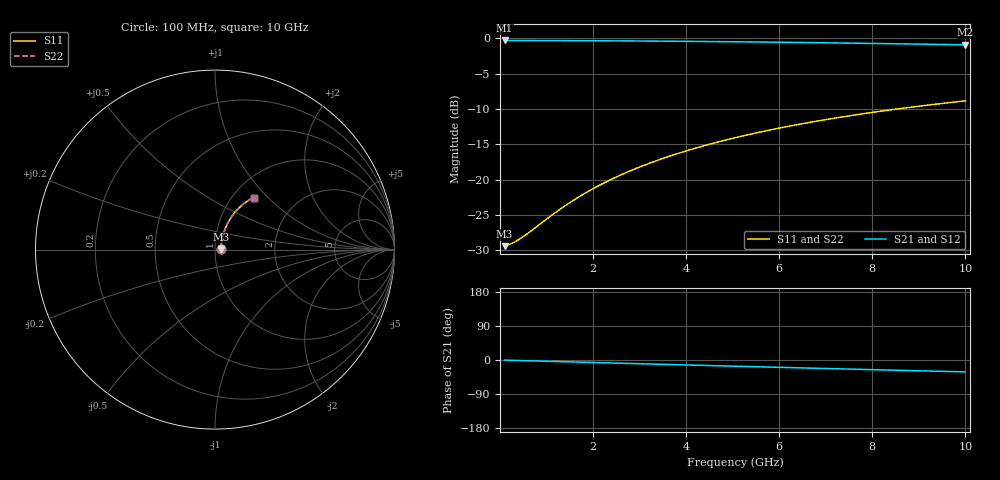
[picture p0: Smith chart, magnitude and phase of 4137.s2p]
# Hz S RI R 50.00
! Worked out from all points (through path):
!   100 points, 100 MHz to 10 GHz, reference 50 ohm
!   highest |S21| = -0.30 dB at 100 MHz (marker M1); lowest = -0.9 dB at 10 GHz (marker M2)
!   group delay of S21, straight-line fit = 8.73 ps
!   lowest |S11| = -29.4 dB at 100 MHz (marker M3), VSWR 1.07, Z = 53.5 + j0.404 ohm
!   |S11| at or under -10 dB: start of sweep to 8.53 GHz
!   |S22| runs from -29.4 to -8.8 dB; largest |S21 - S12| = 0
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1e8  0.0336 0.00378  0.9664 -0.00554  0.9664 -0.00554  0.0336 0.00378
2e8  0.0339 0.00755  0.9661 -0.0111  0.9661 -0.0111  0.0339 0.00755
3e8  0.0342 0.0113  0.9658 -0.0166  0.9658 -0.0166  0.0342 0.0113
5e8  0.0348 0.0188  0.9652 -0.0277  0.9652 -0.0277  0.0348 0.0188
1.1e9  0.0373 0.0413  0.9625 -0.0607  0.9625 -0.0607  0.0373 0.0413
1.3e9  0.0384 0.0487  0.9613 -0.0716  0.9613 -0.0716  0.0384 0.0487
1.5e9  0.0397 0.0561  0.9599 -0.0826  0.9599 -0.0826  0.0397 0.0561
1.8e9  0.042 0.0671  0.9575 -0.0989  0.9575 -0.0989  0.042 0.0671
2.1e9  0.0446 0.0781  0.9547 -0.1151  0.9547 -0.1151  0.0446 0.0781
2.5e9  0.0486 0.0924  0.9503 -0.1366  0.9503 -0.1366  0.0486 0.0924
2.9e9  0.0533 0.1066  0.9453 -0.1578  0.9453 -0.1578  0.0533 0.1066
3.4e9  0.06 0.1239  0.9381 -0.1839  0.9381 -0.1839  0.06 0.1239
3.8e9  0.066 0.1373  0.9317 -0.2045  0.9317 -0.2045  0.066 0.1373
4.2e9  0.0726 0.1505  0.9246 -0.2247  0.9246 -0.2247  0.0726 0.1505
4.6e9  0.0797 0.1632  0.9169 -0.2446  0.9169 -0.2446  0.0797 0.1632
5.1e9  0.0893 0.1786  0.9065 -0.2688  0.9065 -0.2688  0.0893 0.1786
5.9e9  0.1063 0.2019  0.8881 -0.3063  0.8881 -0.3063  0.1063 0.2019
6.7e9  0.1249 0.2233  0.8678 -0.342  0.8678 -0.342  0.1249 0.2233
7.5e9  0.1451 0.2428  0.8458 -0.3758  0.8458 -0.3758  0.1451 0.2428
8.4e9  0.1693 0.2622  0.8192 -0.4114  0.8192 -0.4114  0.1693 0.2622
9.2e9  0.1918 0.2772  0.7944 -0.4408  0.7944 -0.4408  0.1918 0.2772
1e10  0.2151 0.2901  0.7685 -0.4682  0.7685 -0.4682  0.2151 0.2901
